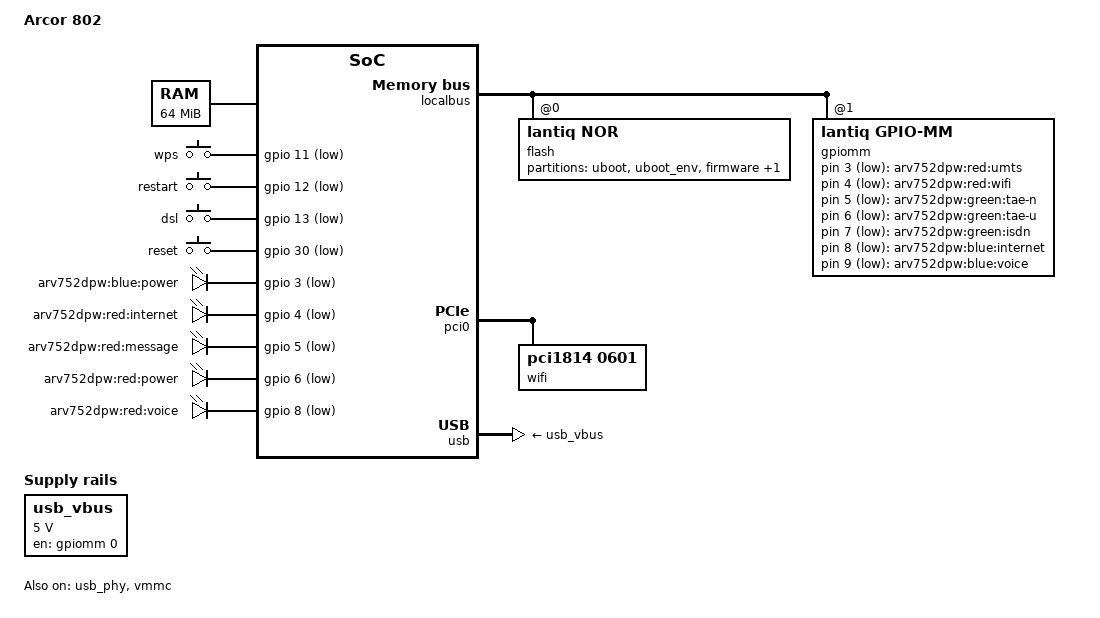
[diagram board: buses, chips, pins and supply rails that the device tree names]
/dts-v1/;

#include "danube.dtsi"

#include <dt-bindings/input/input.h>

/ {
	compatible = "arcadyan,arv752dpw", "lantiq,xway", "lantiq,danube";
	model = "Arcor 802";

	chosen {
		bootargs = "console=ttyLTQ0,115200";
	};

	aliases {
		led-boot = &power_red;
		led-failsafe = &power_blue;
		led-running = &power_red;
		led-upgrade = &power_red;

		led-dsl = &internet_red;
		led-usb = &umts;
		led-wifi = &wifi;
	};

	memory@0 {
		device_type = "memory";
		reg = <0x0 0x4000000>;
	};

	keys {
		compatible = "gpio-keys-polled";
		poll-interval = <100>;

		wps {
			label = "wps";
			gpios = <&gpio 11 GPIO_ACTIVE_LOW>;
			linux,code = <KEY_WPS_BUTTON>;
		};
		restart {
			label = "restart";
			gpios = <&gpio 12 GPIO_ACTIVE_LOW>;
			linux,code = <KEY_POWER>;
		};
		dsl {
			label = "dsl";
			gpios = <&gpio 13 GPIO_ACTIVE_LOW>;
			linux,code = <BTN_0>;
		};
		reset {
			label = "reset";
			gpios = <&gpio 30 GPIO_ACTIVE_LOW>;
			linux,code = <KEY_RESTART>;
		};
	};

	leds {
		compatible = "gpio-leds";
		power_blue: power1 {
			label = "arv752dpw:blue:power";
			gpios = <&gpio 3 GPIO_ACTIVE_LOW>;
		};
		internet_red: internet {
			label = "arv752dpw:red:internet";
			gpios = <&gpio 4 GPIO_ACTIVE_LOW>;
		};
		message {
			label = "arv752dpw:red:message";
			gpios = <&gpio 5 GPIO_ACTIVE_LOW>;
		};
		power_red: power {
			label = "arv752dpw:red:power";
			gpios = <&gpio 6 GPIO_ACTIVE_LOW>;
			default-state = "keep";
		};
		voice1 {
			label = "arv752dpw:red:voice";
			gpios = <&gpio 8 GPIO_ACTIVE_LOW>;
		};
		umts: umts {
			label = "arv752dpw:red:umts";
			gpios = <&gpiomm 3 GPIO_ACTIVE_LOW>;
		};
		wifi: wifi {
			label = "arv752dpw:red:wifi";
			gpios = <&gpiomm 4 GPIO_ACTIVE_LOW>;
		};
		fxs1 {
			label = "arv752dpw:green:tae-n";
			gpios = <&gpiomm 5 GPIO_ACTIVE_LOW>;
		};
		fxs2 {
			label = "arv752dpw:green:tae-u";
			gpios = <&gpiomm 6 GPIO_ACTIVE_LOW>;
		};
		fxo {
			label = "arv752dpw:green:isdn";
			gpios = <&gpiomm 7 GPIO_ACTIVE_LOW>;
		};
		internet2 {
			label = "arv752dpw:blue:internet";
			gpios = <&gpiomm 8 GPIO_ACTIVE_LOW>;
		};
		voice2 {
			label = "arv752dpw:blue:voice";
			gpios = <&gpiomm 9 GPIO_ACTIVE_LOW>;
		};
	};
};

&gpio {
	pinctrl-names = "default";
	pinctrl-0 = <&state_default>;

	state_default: pinmux {
		ebu {
			lantiq,groups = "ebu cs1";
			lantiq,function = "ebu";
		};
		exin {
			lantiq,groups = "exin1";
			lantiq,function = "exin";
			lantiq,pull = <2>;
			lantiq,output = <0>;
		};
		pci_in {
			lantiq,groups = "req2", "req1";
			lantiq,function = "pci";
			lantiq,open-drain = <1>;
			lantiq,pull = <2>;
			lantiq,output = <0>;
		};
		pci_out {
			lantiq,groups = "gnt1";
			lantiq,function = "pci";
			lantiq,output = <1>;
		};
		pci_rst {
			lantiq,pins = "io21";
			lantiq,pull = <2>;
			lantiq,output = <1>;
		};
		leds {
			lantiq,pins = "io3", "io5", "io6", "io8";
			lantiq,output = <1>;
			lantiq,pull = <0>;
		};
		keys {
			lantiq,pins = "io11", "io12", "io13", "io28";
			lantiq,output = <0>;
			lantiq,pull = <2>;
			lantiq,open-drain = <1>;
		};
	};

	usb_vbus: regulator-usb-vbus {
		compatible = "regulator-fixed";

		regulator-name = "USB_VBUS";

		regulator-min-microvolt = <5000000>;
		regulator-max-microvolt = <5000000>;

		gpio = <&gpiomm 0 GPIO_ACTIVE_HIGH>;
		enable-active-high;
	};
};

&gsw {
	phy-mode = "rmii";
	mtd-mac-address = <&boardconfig 0x16>;
};

&localbus {
	flash@0 {
		compatible = "lantiq,nor";
		bank-width = <2>;
		reg = <0 0x0 0x800000>;

		partitions {
			compatible = "fixed-partitions";
			#address-cells = <1>;
			#size-cells = <1>;

			partition@0 {
				label = "uboot";
				reg = <0x00000 0x10000>;
				read-only;
			};

			partition@10000 {
				label = "uboot_env";
				reg = <0x10000 0x10000>;
				read-only;
			};

			partition@20000 {
				label = "firmware";
				reg = <0x20000 0x7d0000>;
			};

			boardconfig: partition@7f0000 {
				label = "board_config";
				reg = <0x7f0000 0x10000>;
				read-only;
			};
		};
	};

	gpiomm: gpio@1 {
		compatible = "lantiq,gpio-mm";
		reg = <1 0x0 0x10 >;
		#address-cells = <1>;
		#size-cells = <1>;
		#gpio-cells = <2>;
		gpio-controller;
		lantiq,shadow = <0x3>;
	};
};

&pci0 {
	status = "okay";
	lantiq,external-clock;
	gpio-reset = <&gpio 21 GPIO_ACTIVE_HIGH>;
	interrupt-map = <0x7000 0 0 1 &icu0 135>;
	req-mask = <0x3>;

	wifi@1814,0601 {
		compatible = "pci1814,0601";
		reg = <0x7000 0 0 0 0>;
		ralink,mtd-eeprom = <&boardconfig 0x410>;
		ralink,mtd-eeprom-swap;
	};
};

&usb_phy {
	status = "okay";
};

&usb {
	status = "okay";
	vbus-supply = <&usb_vbus>;
};

&vmmc {
	status = "okay";
	gpios = <&gpiomm 1 GPIO_ACTIVE_HIGH>;
};
